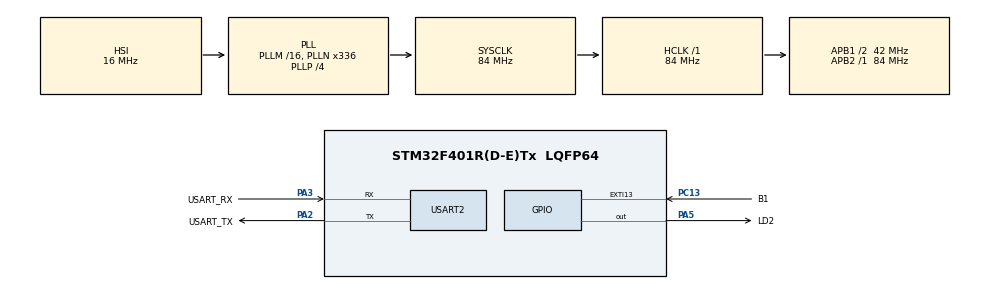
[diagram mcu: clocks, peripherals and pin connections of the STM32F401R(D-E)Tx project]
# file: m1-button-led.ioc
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Mcu.Family=STM32F4
Mcu.Name=STM32F401R(D-E)Tx
Mcu.Package=LQFP64
NVIC.EXTI15_10_IRQn=true\:0\:0\:false\:false\:true\:true\:true\:true
NVIC.PriorityGroup=NVIC_PRIORITYGROUP_0
NVIC.TIM3_IRQn=true\:0\:0\:false\:false\:true\:true\:true\:true
PA13.GPIO_Label=TMS
PA13.Mode=Serial_Wire
PA13.Signal=SYS_JTMS-SWDIO
PA14.GPIO_Label=TCK
PA14.Mode=Serial_Wire
PA14.Signal=SYS_JTCK-SWCLK
PA2.GPIO_Label=USART_TX
PA2.GPIO_Mode=GPIO_MODE_AF_PP
PA2.GPIO_PuPd=GPIO_NOPULL
PA2.GPIO_Speed=GPIO_SPEED_FREQ_LOW
PA2.Mode=Asynchronous
PA2.Signal=USART2_TX
PA3.GPIO_Label=USART_RX
PA3.GPIO_Mode=GPIO_MODE_AF_PP
PA3.GPIO_PuPd=GPIO_NOPULL
PA3.GPIO_Speed=GPIO_SPEED_FREQ_LOW
PA3.Mode=Asynchronous
PA3.Signal=USART2_RX
PA5.GPIO_Label=LD2
PA5.Signal=GPIO_Output
PB3.GPIO_Label=SWO
PB3.Signal=SYS_JTDO-SWO
PC13-ANTI_TAMP.GPIO_Label=B1
PC13-ANTI_TAMP.GPIO_ModeDefaultEXTI=GPIO_MODE_IT_FALLING
PC13-ANTI_TAMP.Signal=GPXTI13
PC14-OSC32_IN.Signal=RCC_OSC32_IN
PC15-OSC32_OUT.Signal=RCC_OSC32_OUT
PH0\ -\ OSC_IN.Signal=RCC_OSC_IN
PH1\ -\ OSC_OUT.Signal=RCC_OSC_OUT
ProjectManager.HeapSize=0x200
ProjectManager.StackSize=0x400
ProjectManager.TargetToolchain=CMake
RCC.AHBFreq_Value=84000000
RCC.APB1CLKDivider=RCC_HCLK_DIV2
RCC.APB1Freq_Value=42000000
RCC.APB1TimFreq_Value=84000000
RCC.APB2Freq_Value=84000000
RCC.APB2TimFreq_Value=84000000
RCC.CortexFreq_Value=84000000
RCC.HCLKFreq_Value=84000000
RCC.HSE_VALUE=8000000
RCC.HSI_VALUE=16000000
RCC.LSE_VALUE=32768
RCC.PLLN=336
RCC.PLLP=RCC_PLLP_DIV4
RCC.PLLQ=7
RCC.SYSCLKFreq_VALUE=84000000
RCC.SYSCLKSource=RCC_SYSCLKSOURCE_PLLCLK
RCC.VCOOutputFreq_Value=336000000
TIM3.Period=4999
TIM3.Prescaler=8399
USART2.VirtualMode=VM_ASYNC
VP_TIM3_VS_ClockSourceINT.Mode=Internal
board=NUCLEO-F401RE

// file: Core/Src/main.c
/* USER CODE BEGIN Header */
/**
  ******************************************************************************
  * @file           : main.c
  * @brief          : Main program body
  ******************************************************************************
  * @attention
  *
  * Copyright (c) 2026 STMicroelectronics.
  * All rights reserved.
  *
  * This software is licensed under terms that can be found in the LICENSE file
  * in the root directory of this software component.
  * If no LICENSE file comes with this software, it is provided AS-IS.
  *
  ******************************************************************************
  */
/* USER CODE END Header */
#include "main.h"

/* USER CODE BEGIN Includes */
#include <stdint.h>
#include <string.h>
#include "led.h"
#include "button.h"
#include "tick.h"
#include "serial.h"
/* USER CODE END Includes */

TIM_HandleTypeDef htim3;

UART_HandleTypeDef huart2;

void SystemClock_Config(void);
static void MX_GPIO_Init(void);
static void MX_TIM3_Init(void);
static void MX_USART2_UART_Init(void);

int main(void)
{

  /* MCU Configuration--------------------------------------------------------*/

  /* Reset of all peripherals, Initializes the Flash interface and the Systick. */
  HAL_Init();

  /* Configure the system clock */
  SystemClock_Config();

  /* Initialize all configured peripherals */
  MX_GPIO_Init();
  MX_TIM3_Init();
  MX_USART2_UART_Init();
  /* USER CODE BEGIN 2 */
  led_init();
  button_init();
  tick_init();
  serial_init();

  char startup_banner[] = "Welcome to STM32 Foundations: Blinker\r\n";
  serial_printf(startup_banner);

  bool paused = false;
  uint32_t toggle_count = 0;
  /* USER CODE END 2 */

  /* Infinite loop */
  while (1)
  {

    /* USER CODE BEGIN 3 */
    bool ticked = tick_elapsed();

    if(ticked && !paused) {
      led_toggle();
      toggle_count++;
      serial_printf("Toggles: %lu\r\n", toggle_count);
    }

    if (button_was_pressed()) {
      paused = !paused;
      if (paused) {
        serial_printf("Paused\r\n");
      } else {
        serial_printf("Resumed\r\n");
      }
    }
  }
  /* USER CODE END 3 */
}

void SystemClock_Config(void)
{
  RCC_OscInitTypeDef RCC_OscInitStruct = {0};
  RCC_ClkInitTypeDef RCC_ClkInitStruct = {0};

  /** Configure the main internal regulator output voltage
  */
  __HAL_RCC_PWR_CLK_ENABLE();
  __HAL_PWR_VOLTAGESCALING_CONFIG(PWR_REGULATOR_VOLTAGE_SCALE2);

  /** Initializes the RCC Oscillators according to the specified parameters
  * in the RCC_OscInitTypeDef structure.
  */
  RCC_OscInitStruct.OscillatorType = RCC_OSCILLATORTYPE_HSI;
  RCC_OscInitStruct.HSIState = RCC_HSI_ON;
  RCC_OscInitStruct.HSICalibrationValue = RCC_HSICALIBRATION_DEFAULT;
  RCC_OscInitStruct.PLL.PLLState = RCC_PLL_ON;
  RCC_OscInitStruct.PLL.PLLSource = RCC_PLLSOURCE_HSI;
  RCC_OscInitStruct.PLL.PLLM = 16;
  RCC_OscInitStruct.PLL.PLLN = 336;
  RCC_OscInitStruct.PLL.PLLP = RCC_PLLP_DIV4;
  RCC_OscInitStruct.PLL.PLLQ = 7;
  if (HAL_RCC_OscConfig(&RCC_OscInitStruct) != HAL_OK)
  {
    Error_Handler();
  }

  /** Initializes the CPU, AHB and APB buses clocks
  */
  RCC_ClkInitStruct.ClockType = RCC_CLOCKTYPE_HCLK|RCC_CLOCKTYPE_SYSCLK
                              |RCC_CLOCKTYPE_PCLK1|RCC_CLOCKTYPE_PCLK2;
  RCC_ClkInitStruct.SYSCLKSource = RCC_SYSCLKSOURCE_PLLCLK;
  RCC_ClkInitStruct.AHBCLKDivider = RCC_SYSCLK_DIV1;
  RCC_ClkInitStruct.APB1CLKDivider = RCC_HCLK_DIV2;
  RCC_ClkInitStruct.APB2CLKDivider = RCC_HCLK_DIV1;

  if (HAL_RCC_ClockConfig(&RCC_ClkInitStruct, FLASH_LATENCY_2) != HAL_OK)
  {
    Error_Handler();
  }
}

static void MX_TIM3_Init(void)
{

  TIM_ClockConfigTypeDef sClockSourceConfig = {0};
  TIM_MasterConfigTypeDef sMasterConfig = {0};

  htim3.Instance = TIM3;
  htim3.Init.Prescaler = 8399;
  htim3.Init.CounterMode = TIM_COUNTERMODE_UP;
  htim3.Init.Period = 4999;
  htim3.Init.ClockDivision = TIM_CLOCKDIVISION_DIV1;
  htim3.Init.AutoReloadPreload = TIM_AUTORELOAD_PRELOAD_DISABLE;
  if (HAL_TIM_Base_Init(&htim3) != HAL_OK)
  {
    Error_Handler();
  }
  sClockSourceConfig.ClockSource = TIM_CLOCKSOURCE_INTERNAL;
  if (HAL_TIM_ConfigClockSource(&htim3, &sClockSourceConfig) != HAL_OK)
  {
    Error_Handler();
  }
  sMasterConfig.MasterOutputTrigger = TIM_TRGO_RESET;
  sMasterConfig.MasterSlaveMode = TIM_MASTERSLAVEMODE_DISABLE;
  if (HAL_TIMEx_MasterConfigSynchronization(&htim3, &sMasterConfig) != HAL_OK)
  {
    Error_Handler();
  }

}

static void MX_USART2_UART_Init(void)
{

  huart2.Instance = USART2;
  huart2.Init.BaudRate = 115200;
  huart2.Init.WordLength = UART_WORDLENGTH_8B;
  huart2.Init.StopBits = UART_STOPBITS_1;
  huart2.Init.Parity = UART_PARITY_NONE;
  huart2.Init.Mode = UART_MODE_TX_RX;
  huart2.Init.HwFlowCtl = UART_HWCONTROL_NONE;
  huart2.Init.OverSampling = UART_OVERSAMPLING_16;
  if (HAL_UART_Init(&huart2) != HAL_OK)
  {
    Error_Handler();
  }

}

static void MX_GPIO_Init(void)
{
  GPIO_InitTypeDef GPIO_InitStruct = {0};

  /* GPIO Ports Clock Enable */
  __HAL_RCC_GPIOC_CLK_ENABLE();
  __HAL_RCC_GPIOH_CLK_ENABLE();
  __HAL_RCC_GPIOA_CLK_ENABLE();
  __HAL_RCC_GPIOB_CLK_ENABLE();

  /*Configure GPIO pin Output Level */
  HAL_GPIO_WritePin(LD2_GPIO_Port, LD2_Pin, GPIO_PIN_RESET);

  /*Configure GPIO pin : B1_Pin */
  GPIO_InitStruct.Pin = B1_Pin;
  GPIO_InitStruct.Mode = GPIO_MODE_IT_FALLING;
  GPIO_InitStruct.Pull = GPIO_NOPULL;
  HAL_GPIO_Init(B1_GPIO_Port, &GPIO_InitStruct);

  /*Configure GPIO pin : LD2_Pin */
  GPIO_InitStruct.Pin = LD2_Pin;
  GPIO_InitStruct.Mode = GPIO_MODE_OUTPUT_PP;
  GPIO_InitStruct.Pull = GPIO_NOPULL;
  GPIO_InitStruct.Speed = GPIO_SPEED_FREQ_LOW;
  HAL_GPIO_Init(LD2_GPIO_Port, &GPIO_InitStruct);

  /* EXTI interrupt init*/
  HAL_NVIC_SetPriority(EXTI15_10_IRQn, 0, 0);
  HAL_NVIC_EnableIRQ(EXTI15_10_IRQn);

}

void Error_Handler(void)
{
  __disable_irq();
  while (1)
  {
  }
}
